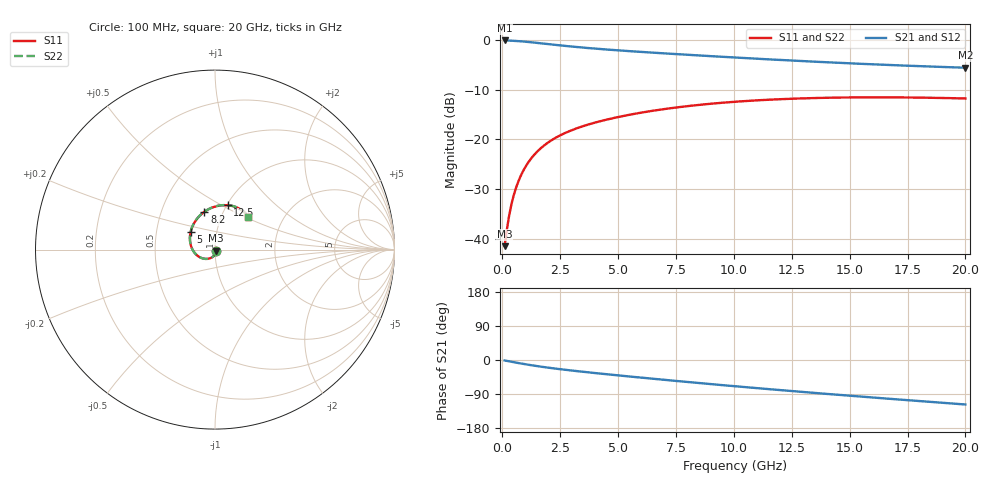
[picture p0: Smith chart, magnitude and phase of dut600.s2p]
! Touchstone file exported from HFSS 2024.1.0
!  File:  C:/UserFiles/LocalFiles/RDL_TSV_Batchsim/temp_RDL_TSV_600_1779797020.aedt
!  Generated:  08:18:00 PM May 26, 2026
!  Design:  RDL_TSV
!  Project:  temp_RDL_TSV_600_1779797020
!  Setup:  Setup1
!  Solution:  Sweep
! Variables:
!  dtsv = 11.02um
!  hbump = 3um
!  htsv = 75.6um
!  ldown = 128.37um
!  lrdl = 263.15um
!  p = 40
!  p1 = 45.35um
!  rhole = 10um
!  subl = 1437.71um
!  t = 450um
!  tdown = 4.57um
!  trdl = 3.04um
!  viad = 10um
!  wdown = 25.31um
!  wrdl = 28.44um
!  xbump = 18um
# GHz S MA R 50.000000
! Terminal data exported
! Port[1] = TM1_1_T1
! Port[2] = TM1_4_T1
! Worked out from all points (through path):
!   200 points, 100 MHz to 20 GHz, reference 50 ohm
!   highest |S21| = -0.06 dB at 100 MHz (marker M1); lowest = -5.6 dB at 20 GHz (marker M2)
!   group delay of S21, straight-line fit = 15.3 ps
!   lowest |S11| = -41.5 dB at 100 MHz (marker M3), VSWR 1.02, Z = 50.6 - j0.551 ohm
!   |S11| at or under -10 dB: start of sweep to end of sweep
!   |S22| runs from -41.5 to -11.5 dB; largest |S21 - S12| = 6.8e-14
!   S11 on the Smith chart (normalised r, x): 100 MHz: 1.01, -0.01; 5 GHz: 0.75, +0.15; 8.2 GHz: 0.82, +0.36; 12.5 GHz: 1.01, +0.53; 20 GHz: 1.33, +0.52
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0.1  0.008392 -40.4  0.9929 -1.2  0.9929 -1.2  0.008391 -40.4
! Gamma 0 0 0 0
! Port Impedance 50 0 50 0
0.2  0.01243 -62.7  0.9916 -2.4  0.9916 -2.4  0.01243 -62.7
0.3  0.01729 -75.6  0.9896 -3.6  0.9896 -3.6  0.01729 -75.6
0.4  0.02243 -84.7  0.9873 -4.7  0.9873 -4.7  0.02243 -84.7
0.5  0.02766 -91.9  0.9844 -5.9  0.9844 -5.9  0.02766 -91.9
0.6  0.03288 -98.0  0.9812 -7.0  0.9812 -7.0  0.03288 -98.0
0.8  0.04308 -108.3  0.9736 -9.1  0.9736 -9.1  0.04308 -108.3
0.9  0.04803 -112.9  0.9693 -10.2  0.9693 -10.2  0.04803 -113.0
1.1  0.05755 -121.4  0.9598 -12.3  0.9598 -12.3  0.05755 -121.4
1.3  0.06654 -129.1  0.9496 -14.2  0.9496 -14.2  0.06654 -129.2
1.5  0.07497 -136.3  0.9388 -16.1  0.9388 -16.1  0.07498 -136.4
2  0.09378 -152.4  0.9115 -20.4  0.9115 -20.4  0.09381 -152.5
2.7  0.1156 -171.5  0.8757 -25.7  0.8757 -25.7  0.1157 -171.5
3.5  0.1362 170.4  0.8408 -31.2  0.8408 -31.2  0.1363 170.3
5  0.1679 143.8  0.7892 -40.6  0.7892 -40.6  0.1681 143.8
6.8  0.199 120.1  0.7405 -51.2  0.7405 -51.2  0.1994 120.0
8.2  0.2189 105.6  0.7075 -59.2  0.7075 -59.2  0.2194 105.6
10.1  0.2399 89.7  0.6673 -69.5  0.6673 -69.5  0.2405 89.7
12.5  0.2568 74.0  0.623 -82.0  0.623 -82.0  0.2576 74.0
13.4  0.2607 69.1  0.6082 -86.4  0.6082 -86.4  0.2615 69.1
16.7  0.2653 54.6  0.562 -102.3  0.562 -102.3  0.2662 54.7
20  0.2584 44.7  0.5275 -117.4  0.5275 -117.4  0.2594 44.7
